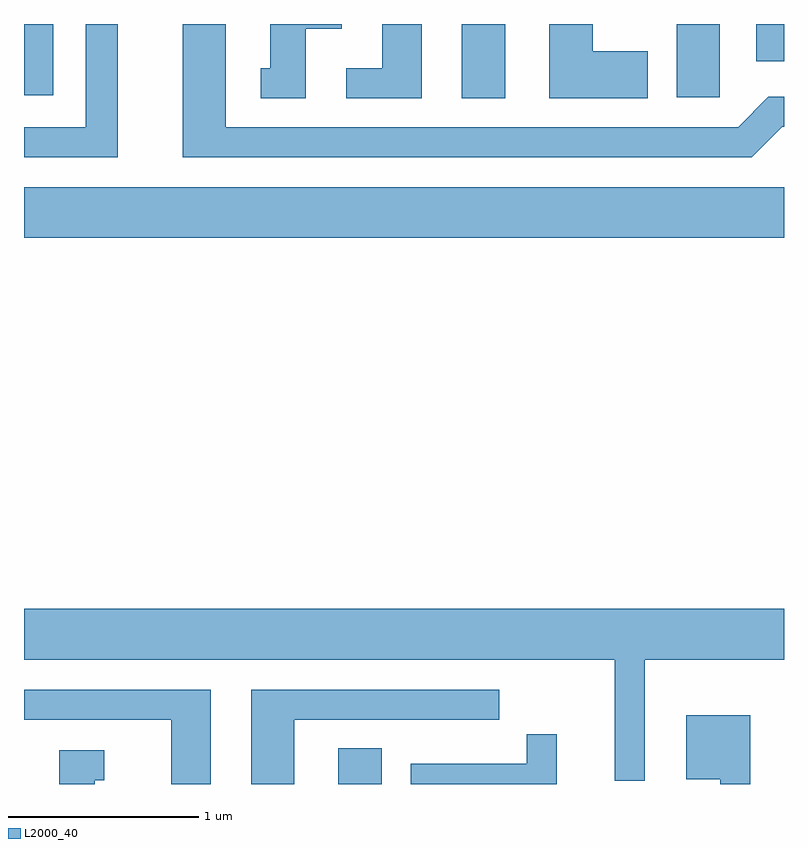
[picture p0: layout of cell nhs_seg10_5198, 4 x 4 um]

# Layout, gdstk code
import gdstk
lib = gdstk.Library(unit=1e-6, precision=1e-09)
def R(c, l, rs):  # rectangles x0, y0, x1, y1
    for r in rs: c.add(gdstk.rectangle(r[:2], r[2:], *l))
def P(c, l, *ps):  # polygons
    for p in ps: c.add(gdstk.Polygon(p, *l))
L2000_40 = (2000, 40)

nhs_seg10_5198 = lib.new_cell('nhs_seg10_5198')
R(nhs_seg10_5198, L2000_40, [(339.266,2186.522,339.494,2186.709), (337.611,2189.396,341.611,2189.664), (339.916,2190.131,340.144,2190.522), (341.046,2190.136,341.274,2190.522), (337.611,2190.146,337.764,2190.522), (341.466,2190.326,341.611,2190.522)])
P(nhs_seg10_5198, L2000_40, [(341.602,2189.981),(341.611,2189.981),(341.611,2190.139),(341.529,2190.139),(341.369,2189.979),(338.674,2189.979),(338.674,2190.522),(338.446,2190.522),(338.446,2189.821),(341.442,2189.821)],
  [(339.094,2190.496),(339.284,2190.496),(339.284,2190.522),(338.906,2190.522),(338.906,2190.289),(338.858,2190.289),(338.858,2190.131),(339.094,2190.131)],
  [(338.104,2190.522),(337.936,2190.522),(337.936,2189.979),(337.611,2189.979),(337.611,2189.821),(338.104,2189.821)],
  [(340.894,2190.379),(340.604,2190.379),(340.604,2190.522),(340.376,2190.522),(340.376,2190.131),(340.894,2190.131)],
  [(339.704,2190.522),(339.496,2190.522),(339.496,2190.289),(339.308,2190.289),(339.308,2190.131),(339.704,2190.131)],
  [(340.879,2187.176),(341.611,2187.176),(341.611,2187.444),(337.611,2187.444),(337.611,2187.176),(340.721,2187.176),(340.721,2186.538),(340.879,2186.538)],
  [(339.034,2186.861),(340.113,2186.861),(340.113,2187.019),(338.806,2187.019),(338.806,2186.522),(339.034,2186.522)],
  [(338.594,2187.019),(337.611,2187.019),(337.611,2186.861),(338.386,2186.861),(338.386,2186.522),(338.594,2186.522)],
  [(341.434,2186.884),(341.096,2186.884),(341.096,2186.546),(341.276,2186.546),(341.276,2186.522),(341.434,2186.522)],
  [(340.414,2186.783),(340.256,2186.783),(340.256,2186.629),(339.646,2186.629),(339.646,2186.522),(340.414,2186.522)],
  [(337.984,2186.541),(338.033,2186.541),(338.033,2186.699),(337.796,2186.699),(337.796,2186.522),(337.984,2186.522)])

lib.write_gds('nhs_seg10_5198.gds')
